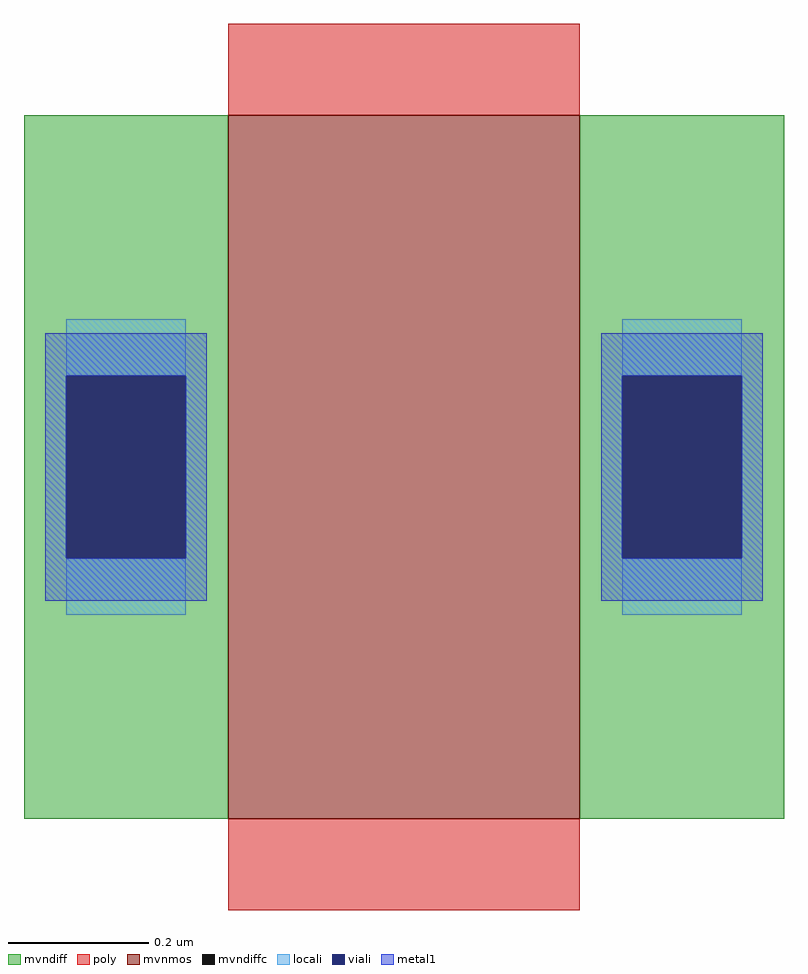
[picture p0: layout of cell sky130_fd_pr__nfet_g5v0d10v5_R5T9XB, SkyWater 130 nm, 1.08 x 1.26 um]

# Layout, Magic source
magic
tech sky130A
<< mvnmos >>
rect -25 -50 25 50
<< mvndiff >>
rect -54 13 -25 50
rect -54 -13 -48 13
rect -31 -13 -25 13
rect -54 -50 -25 -13
rect 25 13 54 50
rect 25 -13 31 13
rect 48 -13 54 13
rect 25 -50 54 -13
<< mvndiffc >>
rect -48 -13 -31 13
rect 31 -13 48 13
<< poly >>
rect -25 50 25 63
rect -25 -63 25 -50
<< locali >>
rect -48 13 -31 21
rect -48 -21 -31 -13
rect 31 13 48 21
rect 31 -21 48 -13
<< viali >>
rect -48 -13 -31 13
rect 31 -13 48 13
<< metal1 >>
rect -51 13 -28 19
rect -51 -13 -48 13
rect -31 -13 -28 13
rect -51 -19 -28 -13
rect 28 13 51 19
rect 28 -13 31 13
rect 48 -13 51 13
rect 28 -19 51 -13
<< properties >>
string gencell sky130_fd_pr__nfet_g5v0d10v5
string parameters w 1 l 0.5 m 1 nf 1 diffcov 30 polycov 100 guard 0 glc 0 grc 0 gtc 0 gbc 0 tbcov 100 rlcov 100 topc 0 botc 0 poverlap 0 doverlap 0 lmin 0.50 wmin 0.42 compatible {sky130_fd_pr__nfet_01v8 sky130_fd_pr__nfet_01v8_lvt  sky130_fd_bs_flash__special_sonosfet_star  sky130_fd_pr__nfet_g5v0d10v5 sky130_fd_pr__nfet_05v0_nvt  sky130_fd_pr__nfet_03v3_nvt} full_metal 0 viasrc 30 viadrn 30 viagate 100 viagb 0 viagr 0 viagl 0 viagt 0
string library sky130
<< end >>
